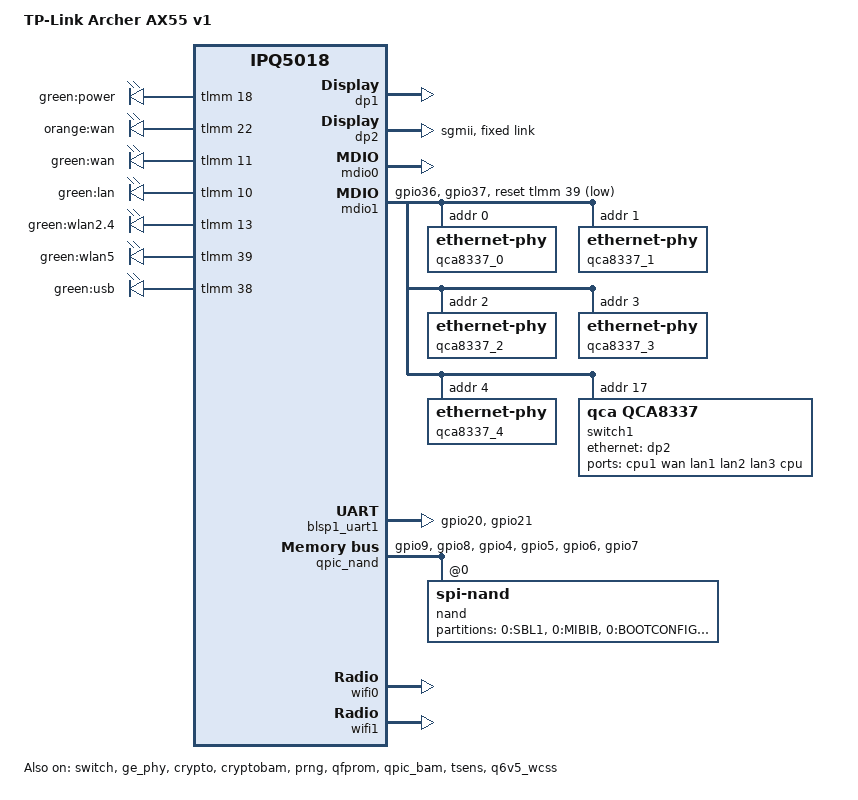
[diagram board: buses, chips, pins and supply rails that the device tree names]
// SPDX-License-Identifier: (GPL-2.0+)

/dts-v1/;

#include "ipq5018.dtsi"
#include "ipq5018-ess.dtsi"

#include <dt-bindings/gpio/gpio.h>
#include <dt-bindings/input/input.h>

/ {
	model = "TP-Link Archer AX55 v1";
	compatible = "tplink,ax55-v1", "qcom,ipq5018", "qcom,ipq5018-mp03.3";

	interrupt-parent = <&intc>;

	aliases {
		serial0 = &blsp1_uart1;
        
		ethernet0 = &dp1;
		ethernet1 = &dp2;
	};

	chosen {
		// Override the root parameter from u-boot
		// Increase coherent_pool size for WiFi
		bootargs-append = " root=mtd:ubi_rootfs swiotlb=1 coherent_pool=2M";
		stdout-path = "serial0:115200n8";
	};

	reserved-memory {
		
		tzapp@4a400000 {
			no-map;
            reg = <0x0 0x4a400000 0x0 0x400000>;
		};

        tz@4ac00000 {
			no-map;
			reg = <0x00 0x4ac00000 0x00 0x400000>;
		};

		q6_mem_regions: q6_mem_regions@4b000000 {
			no-map;
			reg = <0x00 0x4b000000 0x00 0x3900000>;
		};

		dma_pool1@50700000 {
			compatible = "shared-dma-pool";
			no-map;
			reg = <0x00 0x50700000 0x00 0x1000000>;
		};
	};


	rtl8367b {
		compatible = "realtek,rtl8367s";
		realtek,extif1 = <0 0 10 1 0 0 1 1 4>;
		mii-bus = <&mdio1>;
		cpu-port = <6>;
		phy_id = <29>;
	};

	leds {
		compatible = "gpio-leds";

		led_power {
			gpios = <&tlmm 18 GPIO_ACTIVE_HIGH>;
			label = "green:power";
			default-state = "on";
		};

		led_orange_wan {
			gpios = <&tlmm 22 GPIO_ACTIVE_HIGH>;
			label = "orange:wan";
		};

		led_green_wan {
			gpios = <&tlmm 11 GPIO_ACTIVE_HIGH>;
			label = "green:wan";
		};

		led_lan {
			gpios = <&tlmm 10 GPIO_ACTIVE_HIGH>;
			label = "green:lan";
		};

		led_wlan_2g {
			gpios = <&tlmm 13 GPIO_ACTIVE_HIGH>;
			label = "green:wlan2.4";
		};

		led_wlan_5g {
			gpios = <&tlmm 39 GPIO_ACTIVE_HIGH>;
			label = "green:wlan5";
		};

		led_usb {
			gpios = <&tlmm 38 GPIO_ACTIVE_HIGH>;
			label = "green:usb";
		};
	};

};

&switch {
	status = "okay";

	switch_mac_mode = <MAC_MODE_SGMII_CHANNEL0>;

	qcom,port_phyinfo {
		// MAC0 -> GE Phy -> QCA8337 Phy4
		port@0 {
			port_id = <1>;
			mdiobus = <&mdio0>;
			phy_address = <7>;
			// status = "disabled";
		};

		// MAC1 ---SGMII---> QCA8337 SerDes
		port@1 {
			port_id = <2>;
			forced-speed = <1000>;
			forced-duplex = <1>;
		};
	};
};

// MAC0 -> GE Phy
&dp1 {
	/*
	 * ===============================================================
	 *     _______________________         _______________________
	 *    |        IPQ5018        |       |        QCA8337        |
	 *    | +------+   +--------+ |       | +--------+   +------+ |
	 *    | | MAC0 |---| GE Phy |-+--UTP--+-|  Phy4  |---| MAC5 | |
	 *    | +------+   +--------+ |       | +--------+   +------+ |
	 *    | +------+   +--------+ |       | +--------+   +------+ |
	 *    | | MAC1 |---| Uniphy |-+-SGMII-+-| SerDes |---| MAC0 | |
	 *    | +------+   +--------+ |       | +--------+   +------+ |
	 *    |_______________________|       |_______________________|
	 *
	 * ===============================================================
	 *
	 * Current drivers don't support such topology. So dp1 and ge_phy
	 * are useless. But they can't be disabled dut to qca-ssdk use
	 * ge_phy to detect IPQ5018 dummy switch.
	 */
	status = "okay";
};

// MAC1 ---SGMII---> QCA8337 SerDes
&dp2 {
	status = "okay";
	phy-mode = "sgmii";

	fixed-link {
		speed = <1000>;
		full-duplex;
	};
};

&mdio0 {
	status = "okay";
};

// IPQ5018 GE Phy -> QCA8337 Phy1
&ge_phy {
	status = "okay";
};

&mdio1 {
	status = "okay";

	pinctrl-0 = <&mdio1_pins>;
	pinctrl-names = "default";
	reset-gpios = <&tlmm 39 GPIO_ACTIVE_LOW>;

	// QCA8337 Phy0 -> IPQ5018 GE Phy
	qca8337_0: ethernet-phy@0 {
		reg = <0>;
	};

	// QCA8337 Phy1 -> WAN
	qca8337_1: ethernet-phy@1 {
		reg = <1>;
	};

	// QCA8337 Phy2 -> LAN1
	qca8337_2: ethernet-phy@2 {
		reg = <2>;
	};

	// QCA8337 Phy3 -> LAN2
	qca8337_3: ethernet-phy@3 {
		reg = <3>;
	};

	// QCA8337 Phy4 -> LAN3
	qca8337_4: ethernet-phy@4 {
		reg = <4>;
	};

	// QCA8337 switch
	switch1: ethernet-switch@17 {
		compatible = "qca,qca8337";
		reg = <17>;
		#address-cells = <1>;
		#size-cells = <0>;

		switch_cpu_bmp = <0x40>;
		switch_lan_bmp = <0x1e>;
		switch_wan_bmp = <0x00>;

		ports {
			#address-cells = <1>;
			#size-cells = <0>;

			port@1 {
				reg = <1>;
				label = "cpu1";
				phy-handle = <&qca8337_0>;
				status = "disabled";
			};

			port@2 {
				reg = <2>;
				label = "wan";
				phy-handle = <&qca8337_1>;
			};

			port@3 {
				reg = <3>;
				label = "lan1";
				phy-handle = <&qca8337_2>;
			};

			port@4 {
				reg = <4>;
				label = "lan2";
				phy-handle = <&qca8337_3>;
			};

			port@5 {
				reg = <5>;
				label = "lan3";
				phy-handle = <&qca8337_4>;
			};

			port@6 {
				reg = <6>;
				label = "cpu";
				phy-mode = "sgmii";
				ethernet = <&dp2>;
				qca,sgmii-enable-pll;

				fixed-link {
					speed = <1000>;
					full-duplex;
				};
			};
		};
	};
};

&sleep_clk {
	clock-frequency = <32000>;
};

&xo_board_clk {
	clock-frequency = <24000000>;
};

&blsp1_uart1 {
	status = "okay";

	pinctrl-0 = <&serial_0_pins>;
	pinctrl-names = "default";
};

&crypto {
	status = "okay";
};

&cryptobam {
	status = "okay";
};

&prng {
	status = "okay";
};

&qfprom {
	status = "okay";
};

&qpic_bam {
	status = "okay";
};

&qpic_nand {
	pinctrl-0 = <&qpic_pins>;
	pinctrl-names = "default";
	status = "okay";

	partitions {
		status = "disabled";
	};

	nand@0 {
		compatible = "spi-nand";
		reg = <0>;
		#address-cells = <1>;
		#size-cells = <1>;

		nand-ecc-engine = <&qpic_nand>;

		nand-ecc-strength = <8>;
		nand-ecc-step-size = <512>;
		nand-bus-width = <8>;

		partitions {
			compatible = "fixed-partitions";
			#address-cells = <1>;
			#size-cells = <1>;

			partition@0 {
					label = "0:SBL1";
					reg = <0x00 0x80000>;
				};

				partition@80000 {
					label = "0:MIBIB";
					reg = <0x80000 0x80000>;
				};

				partition@100000 {
					label = "0:BOOTCONFIG";
					reg = <0x100000 0x40000>;
				};

				partition@140000 {
					label = "0:BOOTCONFIG1";
					reg = <0x140000 0x40000>;
				};

				partition@180000 {
					label = "0:QSEE";
					reg = <0x180000 0x100000>;
				};

				partition@280000 {
					label = "0:DEVCFG";
					reg = <0x280000 0x40000>;
				};

				partition@2c0000 {
					label = "0:CDT";
					reg = <0x2c0000 0x40000>;
				};

				partition@300000 {
					label = "0:APPSBLENV";
					reg = <0x300000 0x80000>;
				};

				partition@380000 {
					label = "0:APPSBL";
					reg = <0x380000 0x140000>;
				};

				partition@4c0000 {
					label = "0:ART";
					compatible = "nvmem-cells";
					#address-cells = <1>;
					#size-cells = <1>;
					reg = <0x4c0000 0x100000>;
				};

				partition@5c0000 {
					label = "0:TRAINING";
					reg = <0x5c0000 0x80000>;
				};

				partition@640000 {
					label = "rootfs";
					reg = <0x640000 0x2a00000>;
				};

				partition@3040000 {
					label = "rootfs_1";
					reg = <0x3040000 0x2a00000>;
				};

				partition@5a40000 {
					label = "tp_data";
					reg = <0x5a40000 0x840000>;
				};

				partition@6280000 {
					label = "radio";
					reg = <0x6280000 0x440000>;
				};

				partition@66c0000 {
					label = "data";
					reg = <0x66c0000 0x80000>;
				};
		};
	};
};

&tlmm {
	button_pins: button-state {
		pins = "gpio27", "gpio28";
		function = "gpio";
		drive-strength = <8>;
		bias-pull-up;
	};

	mdio1_pins: mdio-state {
		mdc-pins {
			pins = "gpio36";
			function = "mdc";
			drive-strength = <8>;
			bias-pull-up;
		};

		mdio-pins {
			pins = "gpio37";
			function = "mdio";
			drive-strength = <8>;
			bias-pull-up;
		};
	};

	qpic_pins: qpic-state {
		clock-pins {
			pins = "gpio9";
			function = "qspi_clk";
			drive-strength = <8>;
			bias-disable;
		};

		cs-pins {
			pins = "gpio8";
			function = "qspi_cs";
			drive-strength = <8>;
			bias-disable;
		};

		data-pins {
			pins = "gpio4", "gpio5", "gpio6", "gpio7";
			function = "qspi_data";
			drive-strength = <8>;
			bias-disable;
		};
	};

	serial_0_pins: uart0-state {
		pins = "gpio20", "gpio21";
		function = "blsp0_uart0";
		bias-disable;
	};
};

&tsens {
	status = "okay";
};

&pcie_x1 {
	status = "disabled";
	perst-gpio = <&tlmm 18 1>;
};

&pcie_x2 {
	status = "disabled";
	perst-gpios = <&tlmm 15 GPIO_ACTIVE_LOW>;
};

&q6v5_wcss {
	memory-region = <&q6_mem_regions>;
	firmware-name = "ath11k/IPQ5018/hw1.0/q6_fw.mdt",
					"ath11k/IPQ5018/hw1.0/m3_fw.mdt",
					"ath11k/qcn6122/hw1.0/m3_fw.mdt";

	/*TODO: add support for v1 bootargs in mpd driver to control below settings*/
	/*qcom,bootargs_smem = <507>;*/	/* hard-coded in mpd driver */
	boot-args = 
			</*       type: */ 0x1 /* PCIE0 */
		     /*     length: */ 4
		     /*      PD id: */ 2
		     /* reset GPIO: */ 15
		     /*   reserved: */ 0 0>;

			 status = "okay";

	/* IPQ5018 */
	q6_wcss_pd1: pd-1 {
		firmware-name = "ath11k/IPQ5018/hw1.0/q6_fw.mdt";

		resets =
			<&gcc GCC_WCSSAON_RESET>,
			<&gcc GCC_WCSS_BCR>,
			<&gcc GCC_CE_BCR>;
		reset-names =
			"wcss_aon_reset",
			"wcss_reset",
			"ce_reset";

		clocks =
			<&gcc GCC_WCSS_AHB_S_CLK>,
			<&gcc GCC_WCSS_ACMT_CLK>,
			<&gcc GCC_WCSS_AXI_M_CLK>;
		clock-names =
			"gcc_wcss_ahb_s_clk",
			"gcc_wcss_acmt_clk",
			"gcc_wcss_axi_m_clk";

		// qcom,halt-regs = <&tcsr_q6_block 0xa000 0xd000 0x0>;
		interrupts-extended =
			<&wcss_smp2p_in 8 0>,
			<&wcss_smp2p_in 9 0>,
			<&wcss_smp2p_in 12 0>,
			<&wcss_smp2p_in 11 0>;

		interrupt-names =
			"fatal",
			"ready",
			"spawn-ack",
			"stop-ack";

		qcom,smem-states =
			<&wcss_smp2p_out 8>,
			<&wcss_smp2p_out 9>,
			<&wcss_smp2p_out 10>;
		qcom,smem-state-names =
			"shutdown",
			"stop",
			"spawn";
	};

	// QCN6122 5G
	q6_wcss_pd2: pd-2 {
		firmware-name = "ath11k/IPQ5018/hw1.0/q6_fw.mdt";

		interrupts-extended =
			<&wcss_smp2p_in 16 0>,
			<&wcss_smp2p_in 17 0>,
			<&wcss_smp2p_in 20 0>,
			<&wcss_smp2p_in 19 0>;

		interrupt-names =
			"fatal",
			"ready",
			"spawn-ack",
			"stop-ack";

		qcom,smem-states =
			<&wcss_smp2p_out 16>,
			<&wcss_smp2p_out 17>,
			<&wcss_smp2p_out 18>;

		qcom,smem-state-names =
			"shutdown",
			"stop",
			"spawn";
	};

};

&wifi0 {
	// IPQ5018
	qcom,multipd_arch;
	qcom,rproc = <&q6_wcss_pd1>;
	qcom,userpd-subsys-name = "q6v5_wcss_userpd1";
	qcom,ath11k-calibration-variant = "TP-LINK-AX55-V1";
	qcom,ath11k-fw-memory-mode = <2>;
	qcom,bdf-addr = <0x4c400000>;

	status = "okay";
};

&wifi1 {
	/* QCN6122 5G */
	qcom,multipd_arch;
	qcom,rproc = <&q6_wcss_pd2>;
	qcom,userpd-subsys-name = "q6v5_wcss_userpd2";
	qcom,ath11k-calibration-variant = "TP-LINK-AX55-V1";
	qcom,ath11k-fw-memory-mode = <2>;
	qcom,bdf-addr = <0x0 0x4D200000 0x4CF00000 0x0 0x0>;
	m3-dump-addr = <0x4E200000>;
	status = "okay";
};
